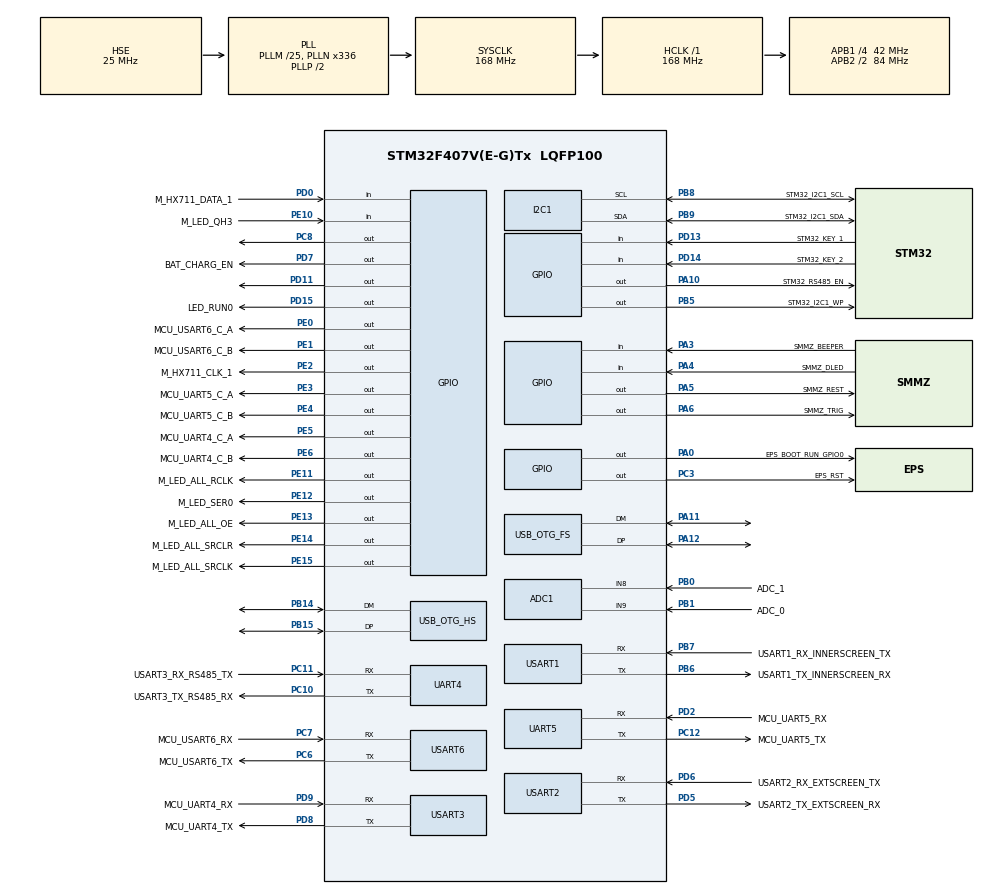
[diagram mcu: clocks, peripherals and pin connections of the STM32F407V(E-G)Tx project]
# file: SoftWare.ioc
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ADC1.Channel-0\#ChannelRegularConversion=ADC_CHANNEL_8
ADC1.NbrOfConversionFlag=1
ADC1.Rank-0\#ChannelRegularConversion=1
ADC1.SamplingTime-0\#ChannelRegularConversion=ADC_SAMPLETIME_3CYCLES
ADC1.master=1
Dma.Request0=USART1_RX
Dma.Request1=USART1_TX
Dma.Request10=UART4_RX
Dma.Request11=UART4_TX
Dma.Request2=USART6_RX
Dma.Request3=USART6_TX
Dma.Request4=USART2_RX
Dma.Request5=USART2_TX
Dma.Request6=USART3_RX
Dma.Request7=USART3_TX
Dma.Request8=UART5_RX
Dma.Request9=UART5_TX
Dma.UART4_RX.10.Direction=DMA_PERIPH_TO_MEMORY
Dma.UART4_RX.10.FIFOMode=DMA_FIFOMODE_DISABLE
Dma.UART4_RX.10.Instance=DMA1_Stream2
Dma.UART4_RX.10.MemDataAlignment=DMA_MDATAALIGN_BYTE
Dma.UART4_RX.10.MemInc=DMA_MINC_ENABLE
Dma.UART4_RX.10.Mode=DMA_CIRCULAR
Dma.UART4_RX.10.PeriphDataAlignment=DMA_PDATAALIGN_BYTE
Dma.UART4_RX.10.PeriphInc=DMA_PINC_DISABLE
Dma.UART4_RX.10.Priority=DMA_PRIORITY_LOW
Dma.UART4_TX.11.Direction=DMA_MEMORY_TO_PERIPH
Dma.UART4_TX.11.FIFOMode=DMA_FIFOMODE_DISABLE
Dma.UART4_TX.11.Instance=DMA1_Stream4
Dma.UART4_TX.11.MemDataAlignment=DMA_MDATAALIGN_BYTE
Dma.UART4_TX.11.MemInc=DMA_MINC_ENABLE
Dma.UART4_TX.11.Mode=DMA_NORMAL
Dma.UART4_TX.11.PeriphDataAlignment=DMA_PDATAALIGN_BYTE
Dma.UART4_TX.11.PeriphInc=DMA_PINC_DISABLE
Dma.UART4_TX.11.Priority=DMA_PRIORITY_LOW
Dma.UART5_RX.8.Direction=DMA_PERIPH_TO_MEMORY
Dma.UART5_RX.8.FIFOMode=DMA_FIFOMODE_DISABLE
Dma.UART5_RX.8.Instance=DMA1_Stream0
Dma.UART5_RX.8.MemDataAlignment=DMA_MDATAALIGN_BYTE
Dma.UART5_RX.8.MemInc=DMA_MINC_ENABLE
Dma.UART5_RX.8.Mode=DMA_CIRCULAR
Dma.UART5_RX.8.PeriphDataAlignment=DMA_PDATAALIGN_BYTE
Dma.UART5_RX.8.PeriphInc=DMA_PINC_DISABLE
Dma.UART5_RX.8.Priority=DMA_PRIORITY_LOW
Dma.UART5_TX.9.Direction=DMA_MEMORY_TO_PERIPH
Dma.UART5_TX.9.FIFOMode=DMA_FIFOMODE_DISABLE
Dma.UART5_TX.9.Instance=DMA1_Stream7
Dma.UART5_TX.9.MemDataAlignment=DMA_MDATAALIGN_BYTE
Dma.UART5_TX.9.MemInc=DMA_MINC_ENABLE
Dma.UART5_TX.9.Mode=DMA_NORMAL
Dma.UART5_TX.9.PeriphDataAlignment=DMA_PDATAALIGN_BYTE
Dma.UART5_TX.9.PeriphInc=DMA_PINC_DISABLE
Dma.UART5_TX.9.Priority=DMA_PRIORITY_LOW
Dma.USART1_RX.0.Direction=DMA_PERIPH_TO_MEMORY
Dma.USART1_RX.0.FIFOMode=DMA_FIFOMODE_DISABLE
Dma.USART1_RX.0.Instance=DMA2_Stream2
Dma.USART1_RX.0.MemDataAlignment=DMA_MDATAALIGN_BYTE
Dma.USART1_RX.0.MemInc=DMA_MINC_ENABLE
Dma.USART1_RX.0.Mode=DMA_CIRCULAR
Dma.USART1_RX.0.PeriphDataAlignment=DMA_PDATAALIGN_BYTE
Dma.USART1_RX.0.PeriphInc=DMA_PINC_DISABLE
Dma.USART1_RX.0.Priority=DMA_PRIORITY_LOW
Dma.USART1_TX.1.Direction=DMA_MEMORY_TO_PERIPH
Dma.USART1_TX.1.FIFOMode=DMA_FIFOMODE_DISABLE
Dma.USART1_TX.1.Instance=DMA2_Stream7
Dma.USART1_TX.1.MemDataAlignment=DMA_MDATAALIGN_BYTE
Dma.USART1_TX.1.MemInc=DMA_MINC_ENABLE
Dma.USART1_TX.1.Mode=DMA_NORMAL
Dma.USART1_TX.1.PeriphDataAlignment=DMA_PDATAALIGN_BYTE
Dma.USART1_TX.1.PeriphInc=DMA_PINC_DISABLE
Dma.USART1_TX.1.Priority=DMA_PRIORITY_LOW
Dma.USART2_RX.4.Direction=DMA_PERIPH_TO_MEMORY
Dma.USART2_RX.4.FIFOMode=DMA_FIFOMODE_DISABLE
Dma.USART2_RX.4.Instance=DMA1_Stream5
Dma.USART2_RX.4.MemDataAlignment=DMA_MDATAALIGN_BYTE
Dma.USART2_RX.4.MemInc=DMA_MINC_ENABLE
Dma.USART2_RX.4.Mode=DMA_CIRCULAR
Dma.USART2_RX.4.PeriphDataAlignment=DMA_PDATAALIGN_BYTE
Dma.USART2_RX.4.PeriphInc=DMA_PINC_DISABLE
Dma.USART2_RX.4.Priority=DMA_PRIORITY_LOW
Dma.USART2_TX.5.Direction=DMA_MEMORY_TO_PERIPH
Dma.USART2_TX.5.FIFOMode=DMA_FIFOMODE_DISABLE
Dma.USART2_TX.5.Instance=DMA1_Stream6
Dma.USART2_TX.5.MemDataAlignment=DMA_MDATAALIGN_BYTE
Dma.USART2_TX.5.MemInc=DMA_MINC_ENABLE
Dma.USART2_TX.5.Mode=DMA_NORMAL
Dma.USART2_TX.5.PeriphDataAlignment=DMA_PDATAALIGN_BYTE
Dma.USART2_TX.5.PeriphInc=DMA_PINC_DISABLE
Dma.USART2_TX.5.Priority=DMA_PRIORITY_LOW
Dma.USART3_RX.6.Direction=DMA_PERIPH_TO_MEMORY
Dma.USART3_RX.6.FIFOMode=DMA_FIFOMODE_DISABLE
Dma.USART3_RX.6.Instance=DMA1_Stream1
Dma.USART3_RX.6.MemDataAlignment=DMA_MDATAALIGN_BYTE
Dma.USART3_RX.6.MemInc=DMA_MINC_ENABLE
Dma.USART3_RX.6.Mode=DMA_CIRCULAR
Dma.USART3_RX.6.PeriphDataAlignment=DMA_PDATAALIGN_BYTE
Dma.USART3_RX.6.PeriphInc=DMA_PINC_DISABLE
Dma.USART3_RX.6.Priority=DMA_PRIORITY_LOW
Dma.USART3_TX.7.Direction=DMA_MEMORY_TO_PERIPH
Dma.USART3_TX.7.FIFOMode=DMA_FIFOMODE_DISABLE
Dma.USART3_TX.7.Instance=DMA1_Stream3
Dma.USART3_TX.7.MemDataAlignment=DMA_MDATAALIGN_BYTE
Dma.USART3_TX.7.MemInc=DMA_MINC_ENABLE
Dma.USART3_TX.7.Mode=DMA_NORMAL
Dma.USART3_TX.7.PeriphDataAlignment=DMA_PDATAALIGN_BYTE
Dma.USART3_TX.7.PeriphInc=DMA_PINC_DISABLE
Dma.USART3_TX.7.Priority=DMA_PRIORITY_LOW
Dma.USART6_RX.2.Direction=DMA_PERIPH_TO_MEMORY
Dma.USART6_RX.2.FIFOMode=DMA_FIFOMODE_DISABLE
Dma.USART6_RX.2.Instance=DMA2_Stream1
Dma.USART6_RX.2.MemDataAlignment=DMA_MDATAALIGN_BYTE
Dma.USART6_RX.2.MemInc=DMA_MINC_ENABLE
Dma.USART6_RX.2.Mode=DMA_CIRCULAR
Dma.USART6_RX.2.PeriphDataAlignment=DMA_PDATAALIGN_BYTE
Dma.USART6_RX.2.PeriphInc=DMA_PINC_DISABLE
Dma.USART6_RX.2.Priority=DMA_PRIORITY_LOW
Dma.USART6_TX.3.Direction=DMA_MEMORY_TO_PERIPH
Dma.USART6_TX.3.FIFOMode=DMA_FIFOMODE_DISABLE
Dma.USART6_TX.3.Instance=DMA2_Stream6
Dma.USART6_TX.3.MemDataAlignment=DMA_MDATAALIGN_BYTE
Dma.USART6_TX.3.MemInc=DMA_MINC_ENABLE
Dma.USART6_TX.3.Mode=DMA_NORMAL
Dma.USART6_TX.3.PeriphDataAlignment=DMA_PDATAALIGN_BYTE
Dma.USART6_TX.3.PeriphInc=DMA_PINC_DISABLE
Dma.USART6_TX.3.Priority=DMA_PRIORITY_LOW
FATFS._CODE_PAGE=936
FREERTOS.Tasks01=defaultTask,0,128,StartDefaultTask,Default,NULL,Dynamic,NULL,NULL;appTask1Ms,-3,1024,StartappTask1Ms,Default,NULL,Dynamic,NULL,NULL
I2C1.I2C_Mode=I2C_Fast
Mcu.Family=STM32F4
Mcu.Name=STM32F407V(E-G)Tx
Mcu.Package=LQFP100
NVIC.DMA1_Stream0_IRQn=true\:5\:0\:false\:false\:true\:true\:false\:true\:true
NVIC.DMA1_Stream1_IRQn=true\:5\:0\:false\:false\:true\:true\:false\:true\:true
NVIC.DMA1_Stream2_IRQn=true\:5\:0\:false\:false\:true\:true\:false\:true\:true
NVIC.DMA1_Stream3_IRQn=true\:5\:0\:false\:false\:true\:true\:false\:true\:true
NVIC.DMA1_Stream4_IRQn=true\:5\:0\:false\:false\:true\:true\:false\:true\:true
NVIC.DMA1_Stream5_IRQn=true\:5\:0\:false\:false\:true\:true\:false\:true\:true
NVIC.DMA1_Stream6_IRQn=true\:5\:0\:false\:false\:true\:true\:false\:true\:true
NVIC.DMA1_Stream7_IRQn=true\:5\:0\:false\:false\:true\:true\:false\:true\:true
NVIC.DMA2_Stream1_IRQn=true\:5\:0\:false\:false\:true\:true\:false\:true\:true
NVIC.DMA2_Stream2_IRQn=true\:5\:0\:false\:false\:true\:true\:false\:true\:true
NVIC.DMA2_Stream6_IRQn=true\:5\:0\:false\:false\:true\:true\:false\:true\:true
NVIC.DMA2_Stream7_IRQn=true\:5\:0\:false\:false\:true\:true\:false\:true\:true
NVIC.OTG_FS_IRQn=true\:5\:0\:false\:false\:true\:true\:true\:true\:true
NVIC.OTG_HS_EP1_IN_IRQn=true\:5\:0\:false\:false\:true\:true\:true\:true\:true
NVIC.OTG_HS_EP1_OUT_IRQn=true\:5\:0\:false\:false\:true\:true\:true\:true\:true
NVIC.OTG_HS_IRQn=true\:5\:0\:false\:false\:true\:true\:true\:true\:true
NVIC.PriorityGroup=NVIC_PRIORITYGROUP_4
NVIC.TIM6_DAC_IRQn=true\:15\:0\:false\:false\:true\:false\:false\:true\:true
NVIC.TimeBase=TIM6_DAC_IRQn
NVIC.TimeBaseIP=TIM6
NVIC.UART4_IRQn=true\:5\:0\:false\:false\:true\:true\:true\:true\:true
NVIC.UART5_IRQn=true\:5\:0\:false\:false\:true\:true\:true\:true\:true
NVIC.USART1_IRQn=true\:5\:0\:false\:false\:true\:true\:true\:true\:true
NVIC.USART2_IRQn=true\:5\:0\:false\:false\:true\:true\:true\:true\:true
NVIC.USART3_IRQn=true\:5\:0\:false\:false\:true\:true\:true\:true\:true
NVIC.USART6_IRQn=true\:5\:0\:false\:false\:true\:true\:true\:true\:true
PA0-WKUP.GPIO_Label=EPS_BOOT_RUN_GPIO0
PA0-WKUP.GPIO_PuPd=GPIO_PULLUP
PA0-WKUP.PinState=GPIO_PIN_SET
PA0-WKUP.Signal=GPIO_Output
PA1.Signal=ETH_REF_CLK
PA10.GPIO_Label=STM32_RS485_EN
PA10.GPIO_PuPd=GPIO_PULLUP
PA10.PinState=GPIO_PIN_RESET
PA10.Signal=GPIO_Output
PA11.Mode=Host_Only
PA11.Signal=USB_OTG_FS_DM
PA12.Mode=Host_Only
PA12.Signal=USB_OTG_FS_DP
PA13.Mode=Serial_Wire
PA13.Signal=SYS_JTMS-SWDIO
PA14.Mode=Serial_Wire
PA14.Signal=SYS_JTCK-SWCLK
PA2.Signal=ETH_MDIO
PA3.GPIO_Label=SMMZ_BEEPER
PA3.GPIO_PuPd=GPIO_PULLUP
PA3.Signal=GPIO_Input
PA4.GPIO_Label=SMMZ_DLED
PA4.GPIO_PuPd=GPIO_PULLUP
PA4.Signal=GPIO_Input
PA5.GPIO_Label=SMMZ_REST
PA5.GPIO_PuPd=GPIO_PULLUP
PA5.Signal=GPIO_Output
PA6.GPIO_Label=SMMZ_TRIG
PA6.GPIO_PuPd=GPIO_PULLUP
PA6.Signal=GPIO_Output
PA7.Signal=ETH_CRS_DV
PB0.GPIO_Label=ADC_1
PB0.Signal=ADCx_IN8
PB1.GPIO_Label=ADC_0
PB1.Signal=ADCx_IN9
PB11.Signal=ETH_TX_EN
PB12.Signal=ETH_TXD0
PB13.Signal=ETH_TXD1
PB14.Mode=Host_FS
PB14.Signal=USB_OTG_HS_DM
PB15.Mode=Host_FS
PB15.Signal=USB_OTG_HS_DP
PB5.GPIO_Label=STM32_I2C1_WP
PB5.GPIO_PuPd=GPIO_PULLUP
PB5.GPIO_Speed=GPIO_SPEED_FREQ_MEDIUM
PB5.PinState=GPIO_PIN_SET
PB5.Signal=GPIO_Output
PB6.GPIO_Label=USART1_TX_INNERSCREEN_RX
PB6.Mode=Asynchronous
PB6.Signal=USART1_TX
PB7.GPIO_Label=USART1_RX_INNERSCREEN_TX
PB7.Mode=Asynchronous
PB7.Signal=USART1_RX
PB8.GPIO_Label=STM32_I2C1_SCL
PB8.Mode=I2C
PB8.Signal=I2C1_SCL
PB9.GPIO_Label=STM32_I2C1_SDA
PB9.Mode=I2C
PB9.Signal=I2C1_SDA
PC1.Signal=ETH_MDC
PC10.GPIO_Label=USART3_TX_RS485_RX
PC10.Mode=Asynchronous
PC10.Signal=UART4_TX
PC11.GPIO_Label=USART3_RX_RS485_TX
PC11.Mode=Asynchronous
PC11.Signal=UART4_RX
PC12.GPIO_Label=MCU_UART5_TX
PC12.Mode=Asynchronous
PC12.Signal=UART5_TX
PC14-OSC32_IN.Signal=RCC_OSC32_IN
PC15-OSC32_OUT.Signal=RCC_OSC32_OUT
PC3.GPIO_Label=EPS_RST
PC3.GPIO_ModeDefaultOutputPP=GPIO_MODE_OUTPUT_PP
PC3.GPIO_PuPd=GPIO_PULLUP
PC3.Signal=GPIO_Output
PC4.Signal=ETH_RXD0
PC5.Signal=ETH_RXD1
PC6.GPIO_Label=MCU_USART6_TX
PC6.Mode=Asynchronous
PC6.Signal=USART6_TX
PC7.GPIO_Label=MCU_USART6_RX
PC7.Mode=Asynchronous
PC7.Signal=USART6_RX
PC8.Signal=GPIO_Output
PD0.GPIO_Label=M_HX711_DATA_1
PD0.GPIO_PuPd=GPIO_PULLUP
PD0.Signal=GPIO_Input
PD11.Signal=GPIO_Output
PD13.GPIO_Label=STM32_KEY_1
PD13.GPIO_PuPd=GPIO_PULLUP
PD13.Signal=GPIO_Input
PD14.GPIO_Label=STM32_KEY_2
PD14.GPIO_PuPd=GPIO_PULLUP
PD14.Signal=GPIO_Input
PD15.GPIO_Label=LED_RUN0
PD15.GPIO_ModeDefaultOutputPP=GPIO_MODE_OUTPUT_PP
PD15.GPIO_PuPd=GPIO_PULLUP
PD15.Signal=GPIO_Output
PD2.GPIO_Label=MCU_UART5_RX
PD2.Mode=Asynchronous
PD2.Signal=UART5_RX
PD5.GPIO_Label=USART2_TX_EXTSCREEN_RX
PD5.Mode=Asynchronous
PD5.Signal=USART2_TX
PD6.GPIO_Label=USART2_RX_EXTSCREEN_TX
PD6.Mode=Asynchronous
PD6.Signal=USART2_RX
PD7.GPIO_Label=BAT_CHARG_EN
PD7.GPIO_PuPd=GPIO_PULLUP
PD7.Signal=GPIO_Output
PD8.GPIO_Label=MCU_UART4_TX
PD8.Mode=Asynchronous
PD8.Signal=USART3_TX
PD9.GPIO_Label=MCU_UART4_RX
PD9.Mode=Asynchronous
PD9.Signal=USART3_RX
PE0.GPIO_Label=MCU_USART6_C_A
PE0.GPIO_PuPd=GPIO_PULLUP
PE0.Signal=GPIO_Output
PE1.GPIO_Label=MCU_USART6_C_B
PE1.GPIO_PuPd=GPIO_PULLUP
PE1.Signal=GPIO_Output
PE10.GPIO_Label=M_LED_QH3
PE10.GPIO_PuPd=GPIO_PULLUP
PE10.Signal=GPIO_Input
PE11.GPIO_Label=M_LED_ALL_RCLK
PE11.GPIO_ModeDefaultOutputPP=GPIO_MODE_OUTPUT_PP
PE11.GPIO_PuPd=GPIO_PULLUP
PE11.GPIO_Speed=GPIO_SPEED_FREQ_MEDIUM
PE11.PinState=GPIO_PIN_RESET
PE11.Signal=GPIO_Output
PE12.GPIO_Label=M_LED_SER0
PE12.GPIO_ModeDefaultOutputPP=GPIO_MODE_OUTPUT_PP
PE12.GPIO_PuPd=GPIO_PULLUP
PE12.GPIO_Speed=GPIO_SPEED_FREQ_MEDIUM
PE12.Signal=GPIO_Output
PE13.GPIO_Label=M_LED_ALL_OE
PE13.GPIO_ModeDefaultOutputPP=GPIO_MODE_OUTPUT_PP
PE13.GPIO_PuPd=GPIO_PULLUP
PE13.GPIO_Speed=GPIO_SPEED_FREQ_MEDIUM
PE13.Signal=GPIO_Output
PE14.GPIO_Label=M_LED_ALL_SRCLR
PE14.GPIO_PuPd=GPIO_PULLUP
PE14.GPIO_Speed=GPIO_SPEED_FREQ_MEDIUM
PE14.Signal=GPIO_Output
PE15.GPIO_Label=M_LED_ALL_SRCLK
PE15.GPIO_ModeDefaultOutputPP=GPIO_MODE_OUTPUT_PP
PE15.GPIO_PuPd=GPIO_PULLUP
PE15.GPIO_Speed=GPIO_SPEED_FREQ_MEDIUM
PE15.PinState=GPIO_PIN_RESET
PE15.Signal=GPIO_Output
PE2.GPIO_Label=M_HX711_CLK_1
PE2.GPIO_PuPd=GPIO_PULLUP
PE2.GPIO_Speed=GPIO_SPEED_FREQ_MEDIUM
PE2.Signal=GPIO_Output
PE3.GPIO_Label=MCU_UART5_C_A
PE3.GPIO_ModeDefaultOutputPP=GPIO_MODE_OUTPUT_PP
PE3.GPIO_PuPd=GPIO_PULLUP
PE3.Signal=GPIO_Output
PE4.GPIO_Label=MCU_UART5_C_B
PE4.GPIO_ModeDefaultOutputPP=GPIO_MODE_OUTPUT_PP
PE4.GPIO_PuPd=GPIO_PULLUP
PE4.GPIO_Speed=GPIO_SPEED_FREQ_LOW
PE4.PinState=GPIO_PIN_RESET
PE4.Signal=GPIO_Output
PE5.GPIO_Label=MCU_UART4_C_A
PE5.GPIO_ModeDefaultOutputPP=GPIO_MODE_OUTPUT_PP
PE5.GPIO_PuPd=GPIO_PULLUP
PE5.GPIO_Speed=GPIO_SPEED_FREQ_LOW
PE5.Signal=GPIO_Output
PE6.GPIO_Label=MCU_UART4_C_B
PE6.GPIO_ModeDefaultOutputPP=GPIO_MODE_OUTPUT_PP
PE6.GPIO_PuPd=GPIO_PULLUP
PE6.GPIO_Speed=GPIO_SPEED_FREQ_LOW
PE6.Signal=GPIO_Output
PH0-OSC_IN.Mode=HSE-External-Oscillator
PH0-OSC_IN.Signal=RCC_OSC_IN
PH1-OSC_OUT.Mode=HSE-External-Oscillator
PH1-OSC_OUT.Signal=RCC_OSC_OUT
ProjectManager.HeapSize=0x1000
ProjectManager.StackSize=0x1000
ProjectManager.TargetToolchain=MDK-ARM V5
RCC.48MHZClocksFreq_Value=48000000
RCC.AHBFreq_Value=168000000
RCC.APB1CLKDivider=RCC_HCLK_DIV4
RCC.APB1Freq_Value=42000000
RCC.APB1TimFreq_Value=84000000
RCC.APB2CLKDivider=RCC_HCLK_DIV2
RCC.APB2Freq_Value=84000000
RCC.APB2TimFreq_Value=168000000
RCC.CortexFreq_Value=168000000
RCC.HCLKFreq_Value=168000000
RCC.HSE_VALUE=25000000
RCC.HSI_VALUE=16000000
RCC.LSE_VALUE=32768
RCC.PLLM=25
RCC.PLLN=336
RCC.PLLQ=7
RCC.SYSCLKFreq_VALUE=168000000
RCC.SYSCLKSource=RCC_SYSCLKSOURCE_PLLCLK
RCC.VCOOutputFreq_Value=336000000
SH.ADCx_IN8.0=ADC1_IN8,IN8
SH.ADCx_IN9.0=ADC1_IN9,IN9
TIM7.Period=65535
TIM7.Prescaler=83
UART4.VirtualMode=Asynchronous
UART5.VirtualMode=Asynchronous
USART1.VirtualMode=VM_ASYNC
USART2.VirtualMode=VM_ASYNC
USART3.VirtualMode=VM_ASYNC
USART6.VirtualMode=VM_ASYNC
USB_HOST.BSP.number=2
USB_HOST.USBH_HandleTypeDef-HID_HS=hUsbHostHS
USB_HOST.USBH_HandleTypeDef-MSC_FS=hUsbHostFS
USB_HOST.VirtualModeFS=Msc
USB_HOST.VirtualModeHS=Hid
USB_HOST0.BSP.STBoard=false
USB_HOST0.BSP.api=Unknown
USB_HOST0.BSP.instance=PD11
USB_HOST0.BSP.ip=GPIO
USB_HOST0.BSP.mode=Output
USB_HOST0.BSP.name=Drive_VBUS_FS
USB_HOST0.BSP.solution=PD11
USB_HOST1.BSP.STBoard=false
USB_HOST1.BSP.api=Unknown
USB_HOST1.BSP.instance=PC8
USB_HOST1.BSP.ip=GPIO
USB_HOST1.BSP.mode=Output
USB_HOST1.BSP.name=Drive_VBUS_HS
USB_HOST1.BSP.solution=PC8
USB_OTG_FS.VirtualMode=Host_Only
USB_OTG_FS.phy_itface=HCD_PHY_EMBEDDED
USB_OTG_HS.VirtualMode-Host_FS=Host_FS
VP_FATFS_VS_USB.Mode=USB
VP_FREERTOS_VS_CMSIS_V1.Mode=CMSIS_V1
VP_SYS_VS_tim6.Mode=TIM6
VP_TIM7_VS_ClockSourceINT.Mode=Enable_Timer
VP_USB_HOST_VS_USB_HOST_HID_HS.Mode=HID_HS
VP_USB_HOST_VS_USB_HOST_MSC_FS.Mode=MSC_FS
board=custom

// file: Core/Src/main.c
/* USER CODE BEGIN Header */
/**
  ******************************************************************************
  * @file           : main.c
  * @brief          : Main program body
  ******************************************************************************
  * @attention
  *
  * Copyright (c) 2024 STMicroelectronics.
  * All rights reserved.
  *
  * This software is licensed under terms that can be found in the LICENSE file
  * in the root directory of this software component.
  * If no LICENSE file comes with this software, it is provided AS-IS.
  *
  ******************************************************************************
  */
/* USER CODE END Header */
#include "main.h"
#include "cmsis_os.h"
#include "adc.h"
#include "dma.h"
#include "fatfs.h"
#include "i2c.h"
#include "tim.h"
#include "usart.h"
#include "usb_host.h"
#include "gpio.h"

/* USER CODE BEGIN Includes */
#include "app_led_ctrl.h"
#include "app_hx711_ctrl.h"
#include "app_main_task.h"
#include "app_key_ctrl.h"
#include "app_sdwe_ctrl.h"
#include "app_modbus_rtu_ctrl.h"
#include "app_t5l_ctrl.h"
#include "app_syspara.h"
#include "hal_uart.h"
#include "app_smmz.h"
#include "app_wzdyj.h"
#include "app_usbsmq.h"

/* USER CODE END Includes */

void SystemClock_Config(void);
void MX_FREERTOS_Init(void);

int main(void)
{
  /* USER CODE BEGIN 1 */
  /*
  1.系统单线下载模式
  2.系统是FreeRTOS CMSIS_V1
    https://blog.csdn.net/qq_32348883/article/details/126829395
    CMSIS_V1 : 用于实时操作系统的用API以及基于RTX的参考实现它使软件组件能够跨多个RTOS系统工作
    CMSIS_V2 : 扩展CMSIS-RTOS v1，支持Armv8-M，动态对象创建，提供多核系统，二进制兼容接口
  3.系统已占用TIM6作为系统tick
 */
  /* USER CODE END 1 */

  /* MCU Configuration--------------------------------------------------------*/

  /* Reset of all peripherals, Initializes the Flash interface and the Systick. */
  HAL_Init();

  /* Configure the system clock */
  SystemClock_Config();

  /* Initialize all configured peripherals */
  MX_GPIO_Init();
  MX_DMA_Init();
  MX_TIM7_Init();
  MX_USART1_UART_Init();
  MX_I2C1_Init();
  MX_USART6_UART_Init();
  MX_USART2_UART_Init();
  MX_ADC1_Init();
  MX_UART5_Init();
  MX_UART4_Init();
  MX_USART3_UART_Init();
  MX_FATFS_Init();
  /* USER CODE BEGIN 2 */

//PB6 : USART1_TX_SCREEN1_RX
  //PB7 : USART1_RX_SCREEN1_TX
  //串口1 接显示屏
  HAL_UART_Receive_DMA(&huart1, g_T5LCtx[ScreenIndex_Smaller].rxData, T5L_DMG_UART_DATA_LEN);//串口1 DMA
  __HAL_UART_ENABLE_IT(&huart1, UART_IT_IDLE);

  //串口2 接显示屏
  HAL_UART_Receive_DMA(&huart2, g_T5LCtx[ScreenIndex_Larger].rxData, T5L_DMG_UART_DATA_LEN);//串口2 DMA
  __HAL_UART_ENABLE_IT(&huart2, UART_IT_IDLE);

  //串口3 接内置扫码枪
  HAL_UART_Receive_DMA(&huart3, sUSBSMQHandleContex.rxDataUart, USBSMQ_KEYBORD_SINGLE_LEN);//串口3 DMA
  __HAL_UART_ENABLE_IT(&huart3, UART_IT_IDLE);

  //串口4 接RS485
  HAL_UART_Receive_DMA(&huart4, g_ModbusRtu.rxDataUart, MODBUS_RTU_UART_DATA_LEN);//串口4 DMA
  __HAL_UART_ENABLE_IT(&huart4, UART_IT_IDLE);

  //串口6 接外置打印机
  HAL_UART_Receive_DMA(&huart6, WzdyjHandleContex.rxDataUart, WZDYJ_UART_MAX_LEN);//串口4 DMA
  __HAL_UART_ENABLE_IT(&huart6, UART_IT_IDLE);

  //PC6 : USART6_TX_WX_RX
  //PC7 : USART6_RX_WX_TX
  //HAL_UART_Receive_DMA(&huart6, g_T5L.rxData, T5L_DMG_UART_DATA_LEN);//串口6DMA
  //__HAL_UART_ENABLE_IT(&huart6, UART_IT_IDLE);

  #if 0
  HAL_UART_Receive_DMA(&huart3, UsartType1.usartDMA_rxBuf, RECEIVELEN);//串口1DMA
  __HAL_UART_ENABLE_IT(&huart3, UART_IT_IDLE);
  #endif

#if 1
  USART_HW_Choice();
	key_init();
	led_init();
	hx711_init();
	screenPublic_Init();
	ModbusRtu_init();
	readSysDataFromFlash();
	readSysDataFromFlash_3030();
#endif

  /* USER CODE END 2 */

  /* Call init function for freertos objects (in freertos.c) */
  MX_FREERTOS_Init();

  /* Start scheduler */
  osKernelStart();
  /* We should never get here as control is now taken by the scheduler */
  /* Infinite loop */
  while (1)
  {

  }
}

void SystemClock_Config(void)
{
  RCC_OscInitTypeDef RCC_OscInitStruct = {0};
  RCC_ClkInitTypeDef RCC_ClkInitStruct = {0};

  /** Configure the main internal regulator output voltage
  */
  __HAL_RCC_PWR_CLK_ENABLE();
  __HAL_PWR_VOLTAGESCALING_CONFIG(PWR_REGULATOR_VOLTAGE_SCALE1);

  /** Initializes the RCC Oscillators according to the specified parameters
  * in the RCC_OscInitTypeDef structure.
  */
  RCC_OscInitStruct.OscillatorType = RCC_OSCILLATORTYPE_HSE;
  RCC_OscInitStruct.HSEState = RCC_HSE_ON;
  RCC_OscInitStruct.PLL.PLLState = RCC_PLL_ON;
  RCC_OscInitStruct.PLL.PLLSource = RCC_PLLSOURCE_HSE;
  RCC_OscInitStruct.PLL.PLLM = 25;
  RCC_OscInitStruct.PLL.PLLN = 336;
  RCC_OscInitStruct.PLL.PLLP = RCC_PLLP_DIV2;
  RCC_OscInitStruct.PLL.PLLQ = 7;
  if (HAL_RCC_OscConfig(&RCC_OscInitStruct) != HAL_OK)
  {
    Error_Handler();
  }

  /** Initializes the CPU, AHB and APB buses clocks
  */
  RCC_ClkInitStruct.ClockType = RCC_CLOCKTYPE_HCLK|RCC_CLOCKTYPE_SYSCLK
                              |RCC_CLOCKTYPE_PCLK1|RCC_CLOCKTYPE_PCLK2;
  RCC_ClkInitStruct.SYSCLKSource = RCC_SYSCLKSOURCE_PLLCLK;
  RCC_ClkInitStruct.AHBCLKDivider = RCC_SYSCLK_DIV1;
  RCC_ClkInitStruct.APB1CLKDivider = RCC_HCLK_DIV4;
  RCC_ClkInitStruct.APB2CLKDivider = RCC_HCLK_DIV2;

  if (HAL_RCC_ClockConfig(&RCC_ClkInitStruct, FLASH_LATENCY_5) != HAL_OK)
  {
    Error_Handler();
  }
}

void HAL_TIM_PeriodElapsedCallback(TIM_HandleTypeDef *htim)
{
  if (htim->Instance == TIM6) {
    HAL_IncTick();
  }
}

void Error_Handler(void)
{
  __disable_irq();
  while (1)
  {
  }
}

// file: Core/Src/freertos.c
/* USER CODE BEGIN Header */
/**
  ******************************************************************************
  * File Name          : freertos.c
  * Description        : Code for freertos applications
  ******************************************************************************
  * @attention
  *
  * Copyright (c) 2024 STMicroelectronics.
  * All rights reserved.
  *
  * This software is licensed under terms that can be found in the LICENSE file
  * in the root directory of this software component.
  * If no LICENSE file comes with this software, it is provided AS-IS.
  *
  ******************************************************************************
  */
/* USER CODE END Header */

#include "FreeRTOS.h"
#include "task.h"
#include "main.h"
#include "cmsis_os.h"

/* USER CODE BEGIN Includes */
#include "usart.h"
#include "app_main_task.h"
#include "usb_host.h"
#include "usb_ESSH.h"
/* USER CODE END Includes */

/* USER CODE BEGIN Variables */
volatile uint16_t usb_handle_test = 0 ;
extern ApplicationTypeDef UDisk_Appli_state;
extern void MSC_Application(void);
/* USER CODE END Variables */
osThreadId defaultTaskHandle;
osThreadId appTask1MsHandle;

void StartDefaultTask(void const * argument);
void StartappTask1Ms(void const * argument);

extern void MX_USB_HOST_Init(void);
void MX_FREERTOS_Init(void); /* (MISRA C 2004 rule 8.1) */

/* GetIdleTaskMemory prototype (linked to static allocation support) */
void vApplicationGetIdleTaskMemory( StaticTask_t **ppxIdleTaskTCBBuffer, StackType_t **ppxIdleTaskStackBuffer, uint32_t *pulIdleTaskStackSize );

/* USER CODE BEGIN GET_IDLE_TASK_MEMORY */
static StaticTask_t xIdleTaskTCBBuffer;
static StackType_t xIdleStack[configMINIMAL_STACK_SIZE];

void vApplicationGetIdleTaskMemory( StaticTask_t **ppxIdleTaskTCBBuffer, StackType_t **ppxIdleTaskStackBuffer, uint32_t *pulIdleTaskStackSize )
{
  *ppxIdleTaskTCBBuffer = &xIdleTaskTCBBuffer;
  *ppxIdleTaskStackBuffer = &xIdleStack[0];
  *pulIdleTaskStackSize = configMINIMAL_STACK_SIZE;
  /* place for user code */
}
/* USER CODE END GET_IDLE_TASK_MEMORY */

void MX_FREERTOS_Init(void) {

  /* Create the thread(s) */
  /* definition and creation of defaultTask */
  osThreadDef(defaultTask, StartDefaultTask, osPriorityNormal, 0, 128);
  defaultTaskHandle = osThreadCreate(osThread(defaultTask), NULL);

  /* definition and creation of appTask1Ms */
  osThreadDef(appTask1Ms, StartappTask1Ms, osPriorityIdle, 0, 1024);
  appTask1MsHandle = osThreadCreate(osThread(appTask1Ms), NULL);

}

void StartDefaultTask(void const * argument)
{
  /* init code for USB_HOST */
  MX_USB_HOST_Init();
  /* USER CODE BEGIN StartDefaultTask */
  /* Infinite loop */
  for(;;)
  {
	  osDelay(1);
    //
    USBIf_Mainfunction(UDisk_Appli_state);
  }
  /* USER CODE END StartDefaultTask */
}

void StartappTask1Ms(void const * argument)
{
  /* USER CODE BEGIN StartappTask1Ms */
  /* Infinite loop */
  for(;;)
  {
    osDelay(1);
	  app_main_task();
  }

  /* USER CODE END StartappTask1Ms */
}
